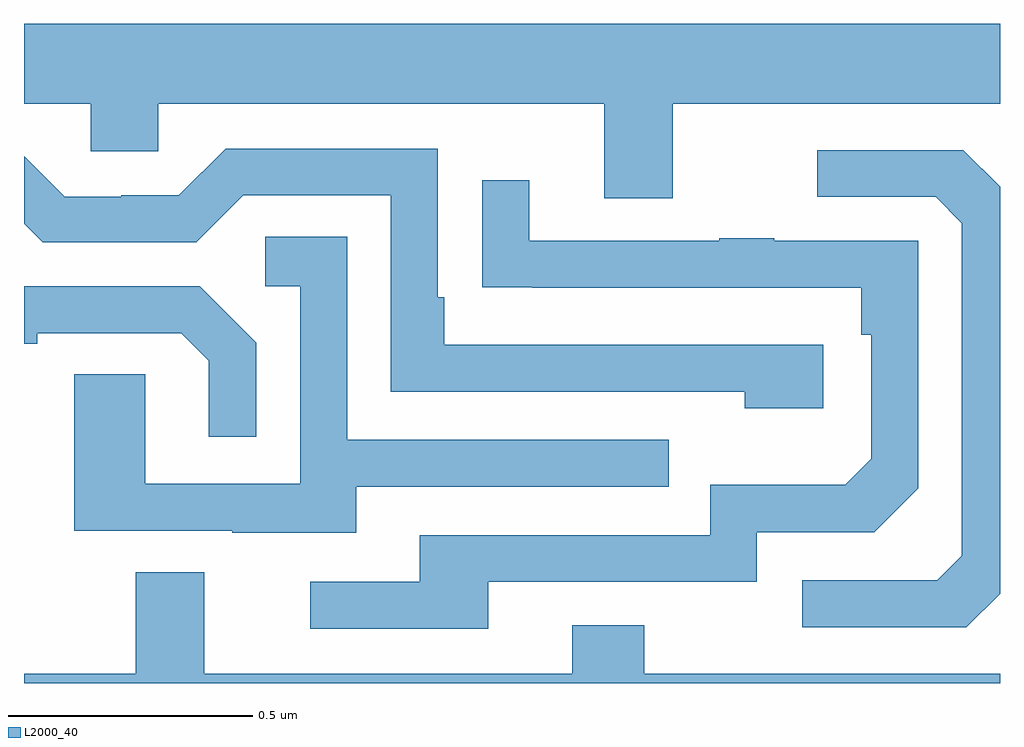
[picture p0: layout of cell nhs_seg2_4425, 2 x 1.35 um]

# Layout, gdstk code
import gdstk
lib = gdstk.Library(unit=1e-6, precision=1e-09)
def P(c, l, *ps):  # polygons
    for p in ps: c.add(gdstk.Polygon(p, *l))
L2000_40 = (2000, 40)

nhs_seg2_4425 = lib.new_cell('nhs_seg2_4425')
P(nhs_seg2_4425, L2000_40, [(167.329,628.988),(168,628.988),(168,629.152),(166,629.152),(166,628.988),(166.137,628.988),(166.137,628.89),(166.275,628.89),(166.275,628.988),(167.189,628.988),(167.189,628.794),(167.329,628.794)],
  [(167.638,628.494),(166.861,628.494),(166.861,628.591),(166.848,628.591),(166.848,628.896),(166.413,628.896),(166.317,628.8),(166.199,628.8),(166.199,628.797),(166.083,628.797),(166,628.88),(166,628.742),(166.038,628.704),(166.353,628.704),(166.449,628.8),(166.752,628.8),(166.752,628.398),(167.477,628.398),(167.477,628.364),(167.638,628.364)],
  [(168,627.984),(168,628.818),(167.925,628.893),(167.625,628.893),(167.625,628.797),(167.868,628.797),(167.922,628.743),(167.922,628.062),(167.871,628.011),(167.595,628.011),(167.595,627.915),(167.931,627.915)],
  [(166.951,628.008),(167.502,628.008),(167.502,628.11),(167.742,628.11),(167.832,628.2),(167.832,628.707),(167.537,628.707),(167.537,628.712),(167.425,628.712),(167.425,628.707),(167.035,628.707),(167.035,628.831),(166.939,628.831),(166.939,628.612),(167.041,628.612),(167.041,628.611),(167.716,628.611),(167.716,628.514),(167.736,628.514),(167.736,628.26),(167.683,628.207),(167.406,628.207),(167.406,628.104),(166.811,628.104),(166.811,628.008),(166.587,628.008),(166.587,627.912),(166.951,627.912)],
  [(166.681,628.203),(167.321,628.203),(167.321,628.299),(166.662,628.299),(166.662,628.715),(166.494,628.715),(166.494,628.614),(166.566,628.614),(166.566,628.209),(166.248,628.209),(166.248,628.433),(166.103,628.433),(166.103,628.113),(166.427,628.113),(166.427,628.109),(166.681,628.109)],
  [(166.476,628.498),(166.36,628.614),(166,628.614),(166,628.496),(166.027,628.496),(166.027,628.518),(166.322,628.518),(166.379,628.461),(166.379,628.305),(166.476,628.305)],
  [(168,627.82),(167.271,627.82),(167.271,627.919),(167.123,627.919),(167.123,627.82),(166.369,627.82),(166.369,628.028),(166.229,628.028),(166.229,627.82),(166,627.82),(166,627.8),(168,627.8)])

lib.write_gds('nhs_seg2_4425.gds')
